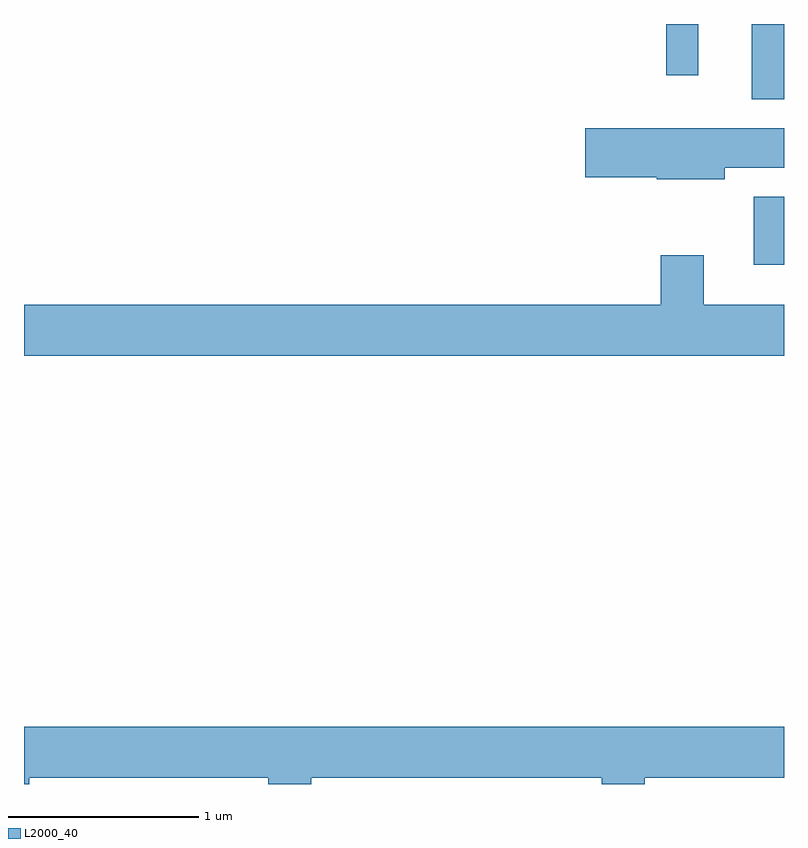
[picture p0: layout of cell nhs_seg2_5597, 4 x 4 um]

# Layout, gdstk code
import gdstk
lib = gdstk.Library(unit=1e-6, precision=1e-09)
def R(c, l, rs):  # rectangles x0, y0, x1, y1
    for r in rs: c.add(gdstk.rectangle(r[:2], r[2:], *l))
def P(c, l, *ps):  # polygons
    for p in ps: c.add(gdstk.Polygon(p, *l))
L2000_40 = (2000, 40)

nhs_seg2_5597 = lib.new_cell('nhs_seg2_5597')
R(nhs_seg2_5597, L2000_40, [(353.451,1086.536,353.611,1086.894), (353.441,1087.406,353.611,1087.802), (352.991,1087.533,353.159,1087.802)])
P(nhs_seg2_5597, L2000_40, [(353.299,1087.046),(353.611,1087.046),(353.611,1087.254),(352.566,1087.254),(352.566,1086.996),(352.94,1086.996),(352.94,1086.986),(353.299,1086.986)],
  [(353.611,1086.324),(353.189,1086.324),(353.189,1086.584),(352.961,1086.584),(352.961,1086.324),(349.611,1086.324),(349.611,1086.056),(353.611,1086.056)],
  [(349.639,1083.836),(350.896,1083.836),(350.896,1083.802),(351.124,1083.802),(351.124,1083.836),(352.651,1083.836),(352.651,1083.802),(352.879,1083.802),(352.879,1083.836),(353.611,1083.836),(353.611,1084.104),(349.611,1084.104),(349.611,1083.802),(349.639,1083.802)])

lib.write_gds('nhs_seg2_5597.gds')
